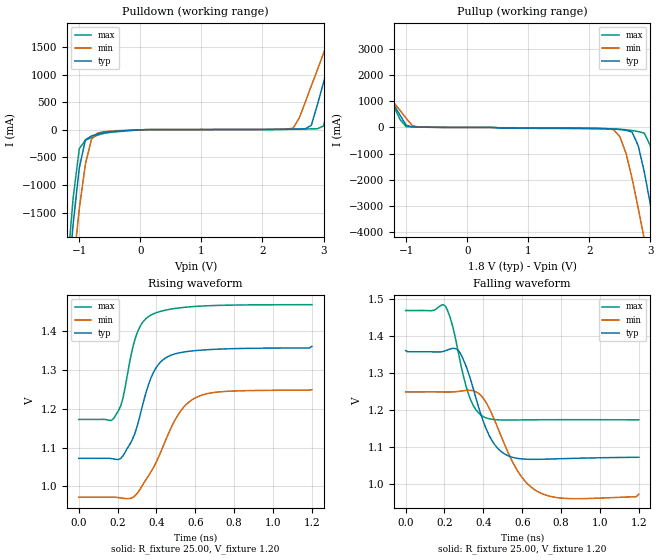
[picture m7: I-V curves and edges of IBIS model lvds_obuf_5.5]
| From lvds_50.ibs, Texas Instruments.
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|   Model lvds_obuf_5.5
[Model]   lvds_obuf_5.5
Model_type   Output
Polarity   Non-Inverting
Vmeas =   1.2000V
C_comp   4.00pF   4.00pF   4.00pF
[Temperature Range]   25.00   0.12k   -40.00
[Voltage Range]   1.80V   1.65V   1.95V
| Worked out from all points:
|   slope of the pulldown table from 0 to 0.27 V, typ, clamps not added: 54.1 ohm
|   slope of the pullup table from 0 to 0.27 V, typ, clamps not added: 20 kohm
|   rising waveform, R_fixture 25.00, V_fixture 1.20: 20-80 % time 111ps typ, 165ps min, 83ps max; typ from 1.07 V to 1.36 V
|   falling waveform, R_fixture 25.00, V_fixture 1.20: 20-80 % time 109ps typ, 146ps min, 81.4ps max; typ from 1.36 V to 1.07 V
[Pulldown]
| voltage   I(typ)   I(min)   I(max)
-1.8V     -11.22A    -11.51A    -11.58A
-1.2V     -2.94A     -3.66A     -2.55A
-1.1V     -1.7A      -2.49A     -1.23A
-1V       -690mA     -1.43A     -340mA
-900mV    -180mA     -620mA     -190mA
-700mV    -74.59mA   -58.32mA   -95.72mA
2.5V      13.35mA    29.37mA    10.4mA
2.8V      82.1mA     800mA      17.31mA
3V        860mA      1.39A      68.48mA
3.2V      1.64A      2A         1.05A
3.4V      2.44A      2.87A      2.05A
3.6V      3.26A      7.07A      3.07A
[Pullup]
| voltage   I(typ)   I(min)   I(max)
-1.8V     3.24A      3.32A      3.83A
-1.6V     2.43A      2.15A      2.81A
-1V       81.87mA    350mA      27.6mA
2.4V      -60.84mA   -92.15mA   -62.8mA
2.5V      -81.85mA   -360mA     -70.75mA
2.7V      -180mA     -1.96A     -120mA
2.9V      -1.71A     -4.29A     -220mA
3V        -2.96A     -5.52A     -710mA
3.1V      -4.29A     -6.78A     -1.88A
3.2V      -5.66A     -8.06A     -3.29A
3.3V      -7.05A     -9.36A     -4.76A
3.6V      -11.29A    -15.13A    -9.34A
[Ramp]
| variable   typ   min   max
dV/dt_r   0.42/0.12n   0.27/0.16n   0.54/99.51p
dV/dt_f   93.89m/73.20p   92.23m/0.11n   0.10/56.35p
R_load = 25.00
[Rising Waveform]
R_fixture = 25.00
V_fixture = 1.20
V_fixture_min = 1.10
V_fixture_max = 1.30
| time   V(typ)   V(min)   V(max)
0s        1.072V     972.3mV    1.172V
180ps     1.07V      972.4mV    1.175V
228ps     1.079V     969.7mV    1.227V
276ps     1.12V      971.2mV    1.352V
300ps     1.153V     981.6mV    1.394V
384ps     1.292V     1.048V     1.443V
432ps     1.325V     1.1V       1.451V
504ps     1.342V     1.178V     1.458V
600ps     1.349V     1.227V     1.462V
1.2ns     1.36V      1.248V     1.467V
[Falling Waveform]
R_fixture = 25.00
V_fixture = 1.20
V_fixture_min = 1.10
V_fixture_max = 1.30
| time   V(typ)   V(min)   V(max)
0s        1.36V      1.248V     1.468V
204ps     1.359V     1.248V     1.48V
240ps     1.366V     1.248V     1.43V
288ps     1.346V     1.251V     1.313V
348ps     1.257V     1.251V     1.212V
408ps     1.157V     1.225V     1.18V
504ps     1.083V     1.113V     1.173V
588ps     1.068V     1.026V     1.173V
672ps     1.066V     982mV      1.173V
1.2ns     1.072V     972.3mV    1.173V
